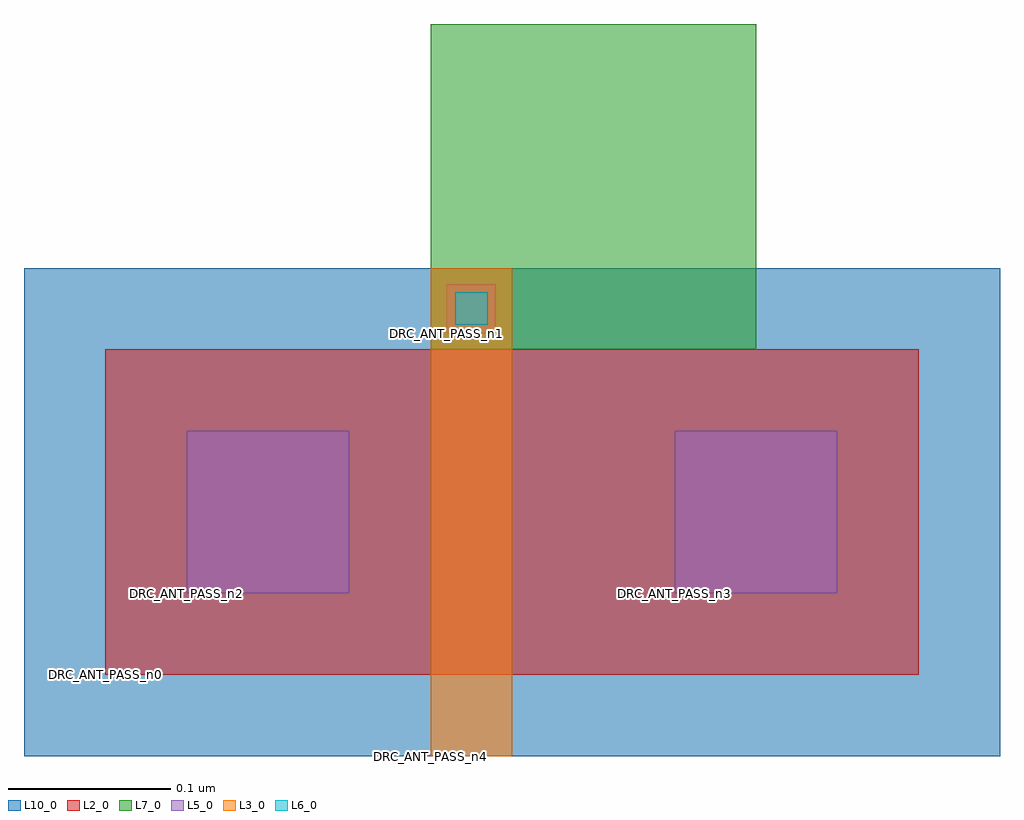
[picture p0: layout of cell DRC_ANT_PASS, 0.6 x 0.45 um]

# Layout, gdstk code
import gdstk
lib = gdstk.Library(unit=1e-6, precision=1e-09)
def R(c, l, rs):  # rectangles x0, y0, x1, y1
    for r in rs: c.add(gdstk.rectangle(r[:2], r[2:], *l))
L2_0 = (2, 0)
L3_0 = (3, 0)
L5_0 = (5, 0)
L6_0 = (6, 0)
L7_0 = (7, 0)
L10_0 = (10, 0)

drc_ant_pass = lib.new_cell('DRC_ANT_PASS')
R(drc_ant_pass, L2_0, [(0,0,0.5,0.2)])
R(drc_ant_pass, L3_0, [(0.2,-0.05,0.25,0.25)])
R(drc_ant_pass, L5_0, [(0.05,0.05,0.15,0.15), (0.35,0.05,0.45,0.15), (0.21,0.21,0.24,0.24)])
R(drc_ant_pass, L6_0, [(0.215,0.215,0.235,0.235)])
R(drc_ant_pass, L7_0, [(0.2,0.2,0.4,0.4)])
R(drc_ant_pass, L10_0, [(-0.05,-0.05,0.55,0.25)])
drc_ant_pass.add(gdstk.Label('DRC_ANT_PASS_n0', (0,0), layer=2, texttype=5))
drc_ant_pass.add(gdstk.Label('DRC_ANT_PASS_n1', (0.21,0.21), layer=5, texttype=5))
drc_ant_pass.add(gdstk.Label('DRC_ANT_PASS_n2', (0.05,0.05), layer=5, texttype=5))
drc_ant_pass.add(gdstk.Label('DRC_ANT_PASS_n3', (0.35,0.05), layer=5, texttype=5))
drc_ant_pass.add(gdstk.Label('DRC_ANT_PASS_n4', (0.2,-0.05), layer=3, texttype=5))

lib.write_gds('DRC_ANT_PASS.gds')
